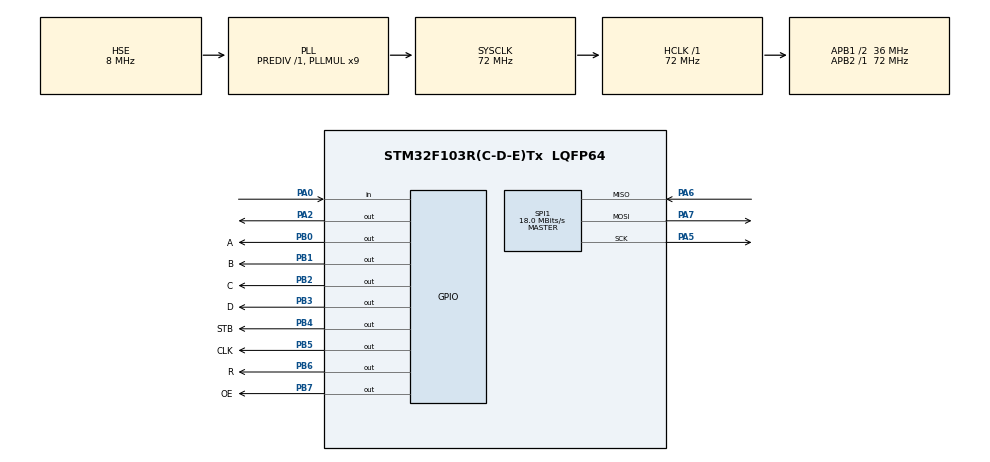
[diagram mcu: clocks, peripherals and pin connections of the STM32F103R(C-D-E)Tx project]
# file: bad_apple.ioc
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Mcu.Family=STM32F1
Mcu.Name=STM32F103R(C-D-E)Tx
Mcu.Package=LQFP64
NVIC.PriorityGroup=NVIC_PRIORITYGROUP_4
NVIC.TIM3_IRQn=true\:0\:0\:false\:false\:true\:true\:true
PA0-WKUP.GPIO_PuPd=GPIO_PULLDOWN
PA0-WKUP.Signal=GPIO_Input
PA13.Mode=Serial_Wire
PA13.Signal=SYS_JTMS-SWDIO
PA14.Mode=Serial_Wire
PA14.Signal=SYS_JTCK-SWCLK
PA2.GPIO_ModeDefaultOutputPP=GPIO_MODE_OUTPUT_PP
PA2.GPIO_PuPd=GPIO_NOPULL
PA2.GPIO_Speed=GPIO_SPEED_FREQ_HIGH
PA2.PinState=GPIO_PIN_RESET
PA2.Signal=GPIO_Output
PA5.Mode=Full_Duplex_Master
PA5.Signal=SPI1_SCK
PA6.Mode=Full_Duplex_Master
PA6.Signal=SPI1_MISO
PA7.Mode=Full_Duplex_Master
PA7.Signal=SPI1_MOSI
PB0.GPIO_Label=A
PB0.GPIO_ModeDefaultOutputPP=GPIO_MODE_OUTPUT_PP
PB0.GPIO_PuPd=GPIO_NOPULL
PB0.GPIO_Speed=GPIO_SPEED_FREQ_HIGH
PB0.PinState=GPIO_PIN_RESET
PB0.Signal=GPIO_Output
PB1.GPIO_Label=B
PB1.GPIO_ModeDefaultOutputPP=GPIO_MODE_OUTPUT_PP
PB1.GPIO_PuPd=GPIO_NOPULL
PB1.GPIO_Speed=GPIO_SPEED_FREQ_HIGH
PB1.PinState=GPIO_PIN_RESET
PB1.Signal=GPIO_Output
PB2.GPIO_Label=C
PB2.GPIO_ModeDefaultOutputPP=GPIO_MODE_OUTPUT_PP
PB2.GPIO_PuPd=GPIO_NOPULL
PB2.GPIO_Speed=GPIO_SPEED_FREQ_HIGH
PB2.PinState=GPIO_PIN_RESET
PB2.Signal=GPIO_Output
PB3.GPIO_Label=D
PB3.GPIO_ModeDefaultOutputPP=GPIO_MODE_OUTPUT_PP
PB3.GPIO_PuPd=GPIO_NOPULL
PB3.GPIO_Speed=GPIO_SPEED_FREQ_HIGH
PB3.PinState=GPIO_PIN_RESET
PB3.Signal=GPIO_Output
PB4.GPIO_Label=STB
PB4.GPIO_ModeDefaultOutputPP=GPIO_MODE_OUTPUT_PP
PB4.GPIO_PuPd=GPIO_NOPULL
PB4.GPIO_Speed=GPIO_SPEED_FREQ_HIGH
PB4.PinState=GPIO_PIN_RESET
PB4.Signal=GPIO_Output
PB5.GPIO_Label=CLK
PB5.GPIO_ModeDefaultOutputPP=GPIO_MODE_OUTPUT_PP
PB5.GPIO_PuPd=GPIO_NOPULL
PB5.GPIO_Speed=GPIO_SPEED_FREQ_HIGH
PB5.PinState=GPIO_PIN_RESET
PB5.Signal=GPIO_Output
PB6.GPIO_Label=R
PB6.GPIO_ModeDefaultOutputPP=GPIO_MODE_OUTPUT_PP
PB6.GPIO_PuPd=GPIO_NOPULL
PB6.GPIO_Speed=GPIO_SPEED_FREQ_HIGH
PB6.PinState=GPIO_PIN_RESET
PB6.Signal=GPIO_Output
PB7.GPIO_Label=OE
PB7.GPIO_ModeDefaultOutputPP=GPIO_MODE_OUTPUT_PP
PB7.GPIO_PuPd=GPIO_NOPULL
PB7.GPIO_Speed=GPIO_SPEED_FREQ_HIGH
PB7.PinState=GPIO_PIN_RESET
PB7.Signal=GPIO_Output
PC14-OSC32_IN.Mode=LSE-External-Oscillator
PC14-OSC32_IN.Signal=RCC_OSC32_IN
PC15-OSC32_OUT.Mode=LSE-External-Oscillator
PC15-OSC32_OUT.Signal=RCC_OSC32_OUT
PD0-OSC_IN.Mode=HSE-External-Oscillator
PD0-OSC_IN.Signal=RCC_OSC_IN
PD1-OSC_OUT.Mode=HSE-External-Oscillator
PD1-OSC_OUT.Signal=RCC_OSC_OUT
ProjectManager.HeapSize=0x200
ProjectManager.StackSize=0x400
ProjectManager.TargetToolchain=STM32CubeIDE
RCC.AHBFreq_Value=72000000
RCC.APB1CLKDivider=RCC_HCLK_DIV2
RCC.APB1Freq_Value=36000000
RCC.APB1TimFreq_Value=72000000
RCC.APB2Freq_Value=72000000
RCC.APB2TimFreq_Value=72000000
RCC.EnbaleCSS=true
RCC.HCLKFreq_Value=72000000
RCC.PLLMUL=RCC_PLL_MUL9
RCC.PLLSourceVirtual=RCC_PLLSOURCE_HSE
RCC.SYSCLKFreq_VALUE=72000000
RCC.SYSCLKSource=RCC_SYSCLKSOURCE_PLLCLK
RCC.USBFreq_Value=72000000
SPI1.BaudRatePrescaler=SPI_BAUDRATEPRESCALER_4
SPI1.CLKPhase=SPI_PHASE_2EDGE
SPI1.CLKPolarity=SPI_POLARITY_HIGH
SPI1.CalculateBaudRate=18.0 MBits/s
SPI1.Direction=SPI_DIRECTION_2LINES
SPI1.Mode=SPI_MODE_MASTER
SPI1.VirtualType=VM_MASTER
TIM3.AutoReloadPreload=TIM_AUTORELOAD_PRELOAD_ENABLE
TIM3.Period=2367
TIM3.Prescaler=1000
VP_FATFS_VS_Generic.Mode=User_defined
VP_TIM3_VS_ClockSourceINT.Mode=Internal
board=custom

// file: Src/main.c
/* USER CODE BEGIN Header */
/**
  ******************************************************************************
  * @file           : main.c
  * @brief          : Main program body
  ******************************************************************************
  * @attention
  *
  * <h2><center>&copy; Copyright (c) 2019 STMicroelectronics.
  * All rights reserved.</center></h2>
  *
  * This software component is licensed by ST under BSD 3-Clause license,
  * the "License"; You may not use this file except in compliance with the
  * License. You may obtain a copy of the License at:
  *                        opensource.org/licenses/BSD-3-Clause
  *
  ******************************************************************************
  */
/* USER CODE END Header */

#include "main.h"
#include "fatfs.h"

/* USER CODE BEGIN PTD */
FATFS fatfs;
FIL file;
UINT tr=0;
char xc[48][64]={};
int fl=0;
void HAL_TIM_PeriodElapsedCallback(TIM_HandleTypeDef *htim)
{
	unsigned char buf[8*48];
	fl++;
	if(fl>300)
	{
		f_close(&file);
		f_open(&file,"0:/banana.bin",FA_READ);
		fl=0;
	}

	f_read(&file, buf, 8*48, &tr);
	for(int a=0;a<48;a++)
	{
		for(int b=0;b<8;b++)
		{
			unsigned char tmp = buf[a*8+b];
			char *put = xc[0]+64*a+b*8;
			for(int c=0;c<8;c++)
			{
				put[7-c]=!(tmp&1);
				tmp = tmp>>1;
			}
		}
	}
}
/* USER CODE END PTD */

/* USER CODE BEGIN PD */
#define A0 HAL_GPIO_WritePin(GPIOB, A_Pin, GPIO_PIN_RESET)
#define B0 HAL_GPIO_WritePin(GPIOB, B_Pin, GPIO_PIN_RESET);
#define C0 HAL_GPIO_WritePin(GPIOB, C_Pin, GPIO_PIN_RESET);
#define D0 HAL_GPIO_WritePin(GPIOB, D_Pin, GPIO_PIN_RESET);
#define STB0 HAL_GPIO_WritePin(GPIOB, STB_Pin, GPIO_PIN_RESET);
#define CLK0 HAL_GPIO_WritePin(GPIOB, CLK_Pin, GPIO_PIN_RESET);
#define R0 HAL_GPIO_WritePin(GPIOB, R_Pin, GPIO_PIN_RESET);
#define OE0 HAL_GPIO_WritePin(GPIOB, OE_Pin, GPIO_PIN_RESET);
#define A1 HAL_GPIO_WritePin(GPIOB, A_Pin, GPIO_PIN_SET);
#define B1 HAL_GPIO_WritePin(GPIOB, B_Pin, GPIO_PIN_SET);
#define C1 HAL_GPIO_WritePin(GPIOB, C_Pin, GPIO_PIN_SET);
#define D1 HAL_GPIO_WritePin(GPIOB, D_Pin, GPIO_PIN_SET);
#define STB1 HAL_GPIO_WritePin(GPIOB, STB_Pin, GPIO_PIN_SET);
#define CLK1 HAL_GPIO_WritePin(GPIOB, CLK_Pin, GPIO_PIN_SET);
#define R1 HAL_GPIO_WritePin(GPIOB, R_Pin, GPIO_PIN_SET);
#define OE1 HAL_GPIO_WritePin(GPIOB, OE_Pin, GPIO_PIN_SET);
/* USER CODE END PD */

SPI_HandleTypeDef hspi1;

TIM_HandleTypeDef htim3;

void SystemClock_Config(void);
static void MX_GPIO_Init(void);
static void MX_SPI1_Init(void);
static void MX_TIM3_Init(void);

int main(void)
{

  /* MCU Configuration--------------------------------------------------------*/

  /* Reset of all peripherals, Initializes the Flash interface and the Systick. */
  HAL_Init();

  /* Configure the system clock */
  SystemClock_Config();

  /* Initialize all configured peripherals */
  MX_GPIO_Init();
  MX_SPI1_Init();
  MX_TIM3_Init();
  MX_FATFS_Init();
  /* USER CODE BEGIN 2 */
  f_mount(&fatfs, "0:", 1);
  f_open(&file,"0:/banana.bin",FA_READ);
  HAL_TIM_Base_Start_IT(&htim3);
  /* USER CODE END 2 */

  /* Infinite loop */
  /* USER CODE BEGIN WHILE */
  while (1)
  {
	  for(char x=0;x<16;x++)
	  {
		  for(char y=0;y<64;y++)
				  {
					  HAL_GPIO_WritePin(GPIOB, R_Pin, xc[32+x][y]);
					  CLK1;
					  CLK0;
				  }
		  for(char y=0;y<64;y++)
		  		  {
		  			  HAL_GPIO_WritePin(GPIOB, R_Pin, xc[16+x][y]);
		  			  CLK1;
		  			  CLK0;
		  		  }
		  for(char y=0;y<64;y++)
		  		  {
		  			  HAL_GPIO_WritePin(GPIOB, R_Pin, xc[x][y]);
		  			  CLK1;
		  			  CLK0;
		  		  }
		  STB1;
		  STB0;
		  GPIOB->ODR=x;
	  }
    /* USER CODE END WHILE */

  }
}

void SystemClock_Config(void)
{
  RCC_OscInitTypeDef RCC_OscInitStruct = {0};
  RCC_ClkInitTypeDef RCC_ClkInitStruct = {0};

  /** Initializes the CPU, AHB and APB busses clocks
  */
  RCC_OscInitStruct.OscillatorType = RCC_OSCILLATORTYPE_HSE;
  RCC_OscInitStruct.HSEState = RCC_HSE_ON;
  RCC_OscInitStruct.HSEPredivValue = RCC_HSE_PREDIV_DIV1;
  RCC_OscInitStruct.HSIState = RCC_HSI_ON;
  RCC_OscInitStruct.PLL.PLLState = RCC_PLL_ON;
  RCC_OscInitStruct.PLL.PLLSource = RCC_PLLSOURCE_HSE;
  RCC_OscInitStruct.PLL.PLLMUL = RCC_PLL_MUL9;
  if (HAL_RCC_OscConfig(&RCC_OscInitStruct) != HAL_OK)
  {
    Error_Handler();
  }
  /** Initializes the CPU, AHB and APB busses clocks
  */
  RCC_ClkInitStruct.ClockType = RCC_CLOCKTYPE_HCLK|RCC_CLOCKTYPE_SYSCLK
                              |RCC_CLOCKTYPE_PCLK1|RCC_CLOCKTYPE_PCLK2;
  RCC_ClkInitStruct.SYSCLKSource = RCC_SYSCLKSOURCE_PLLCLK;
  RCC_ClkInitStruct.AHBCLKDivider = RCC_SYSCLK_DIV1;
  RCC_ClkInitStruct.APB1CLKDivider = RCC_HCLK_DIV2;
  RCC_ClkInitStruct.APB2CLKDivider = RCC_HCLK_DIV1;

  if (HAL_RCC_ClockConfig(&RCC_ClkInitStruct, FLASH_LATENCY_2) != HAL_OK)
  {
    Error_Handler();
  }
  /** Enables the Clock Security System
  */
  HAL_RCC_EnableCSS();
}

static void MX_SPI1_Init(void)
{

  /* SPI1 parameter configuration*/
  hspi1.Instance = SPI1;
  hspi1.Init.Mode = SPI_MODE_MASTER;
  hspi1.Init.Direction = SPI_DIRECTION_2LINES;
  hspi1.Init.DataSize = SPI_DATASIZE_8BIT;
  hspi1.Init.CLKPolarity = SPI_POLARITY_HIGH;
  hspi1.Init.CLKPhase = SPI_PHASE_2EDGE;
  hspi1.Init.NSS = SPI_NSS_SOFT;
  hspi1.Init.BaudRatePrescaler = SPI_BAUDRATEPRESCALER_4;
  hspi1.Init.FirstBit = SPI_FIRSTBIT_MSB;
  hspi1.Init.TIMode = SPI_TIMODE_DISABLE;
  hspi1.Init.CRCCalculation = SPI_CRCCALCULATION_DISABLE;
  hspi1.Init.CRCPolynomial = 10;
  if (HAL_SPI_Init(&hspi1) != HAL_OK)
  {
    Error_Handler();
  }

}

static void MX_TIM3_Init(void)
{

  TIM_ClockConfigTypeDef sClockSourceConfig = {0};
  TIM_MasterConfigTypeDef sMasterConfig = {0};

  htim3.Instance = TIM3;
  htim3.Init.Prescaler = 1000;
  htim3.Init.CounterMode = TIM_COUNTERMODE_UP;
  htim3.Init.Period = 2367;
  htim3.Init.ClockDivision = TIM_CLOCKDIVISION_DIV1;
  htim3.Init.AutoReloadPreload = TIM_AUTORELOAD_PRELOAD_ENABLE;
  if (HAL_TIM_Base_Init(&htim3) != HAL_OK)
  {
    Error_Handler();
  }
  sClockSourceConfig.ClockSource = TIM_CLOCKSOURCE_INTERNAL;
  if (HAL_TIM_ConfigClockSource(&htim3, &sClockSourceConfig) != HAL_OK)
  {
    Error_Handler();
  }
  sMasterConfig.MasterOutputTrigger = TIM_TRGO_RESET;
  sMasterConfig.MasterSlaveMode = TIM_MASTERSLAVEMODE_DISABLE;
  if (HAL_TIMEx_MasterConfigSynchronization(&htim3, &sMasterConfig) != HAL_OK)
  {
    Error_Handler();
  }

}

static void MX_GPIO_Init(void)
{
  GPIO_InitTypeDef GPIO_InitStruct = {0};

  /* GPIO Ports Clock Enable */
  __HAL_RCC_GPIOC_CLK_ENABLE();
  __HAL_RCC_GPIOD_CLK_ENABLE();
  __HAL_RCC_GPIOA_CLK_ENABLE();
  __HAL_RCC_GPIOB_CLK_ENABLE();

  /*Configure GPIO pin Output Level */
  HAL_GPIO_WritePin(GPIOA, GPIO_PIN_2, GPIO_PIN_RESET);

  /*Configure GPIO pin Output Level */
  HAL_GPIO_WritePin(GPIOB, A_Pin|B_Pin|C_Pin|D_Pin
                          |STB_Pin|CLK_Pin|R_Pin|OE_Pin, GPIO_PIN_RESET);

  /*Configure GPIO pin : PA0 */
  GPIO_InitStruct.Pin = GPIO_PIN_0;
  GPIO_InitStruct.Mode = GPIO_MODE_INPUT;
  GPIO_InitStruct.Pull = GPIO_PULLDOWN;
  HAL_GPIO_Init(GPIOA, &GPIO_InitStruct);

  /*Configure GPIO pin : PA2 */
  GPIO_InitStruct.Pin = GPIO_PIN_2;
  GPIO_InitStruct.Mode = GPIO_MODE_OUTPUT_PP;
  GPIO_InitStruct.Pull = GPIO_NOPULL;
  GPIO_InitStruct.Speed = GPIO_SPEED_FREQ_HIGH;
  HAL_GPIO_Init(GPIOA, &GPIO_InitStruct);

  /*Configure GPIO pins : A_Pin B_Pin C_Pin D_Pin
                           STB_Pin CLK_Pin R_Pin OE_Pin */
  GPIO_InitStruct.Pin = A_Pin|B_Pin|C_Pin|D_Pin
                          |STB_Pin|CLK_Pin|R_Pin|OE_Pin;
  GPIO_InitStruct.Mode = GPIO_MODE_OUTPUT_PP;
  GPIO_InitStruct.Pull = GPIO_NOPULL;
  GPIO_InitStruct.Speed = GPIO_SPEED_FREQ_HIGH;
  HAL_GPIO_Init(GPIOB, &GPIO_InitStruct);

}

void Error_Handler(void)
{
}

/************************ (C) COPYRIGHT STMicroelectronics *****END OF FILE****/
